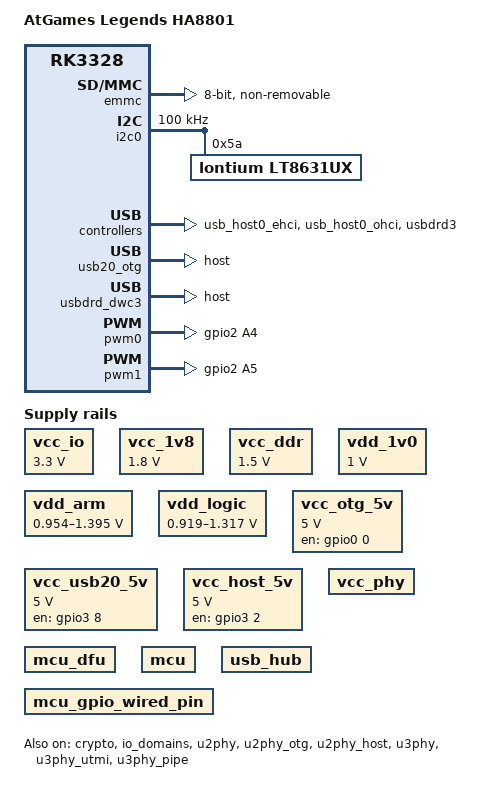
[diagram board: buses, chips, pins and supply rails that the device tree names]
/*
 * (C) Copyright 2016 Rockchip Electronics Co., Ltd
 *
 * SPDX-License-Identifier:     GPL-2.0+
 */

/dts-v1/;
#include "rk3328.dtsi"
#include "rk3328-sdram-ddr3-666.dtsi"
#include <dt-bindings/input/input.h>

/ {
	model = "AtGames Legends HA8801";
	compatible = "rockchip,rk3328-evb", "rockchip,rk3328";

	vcc_io: vcc-io {
		compatible = "regulator-fixed";
		regulator-name = "vcc_io";
		regulator-min-microvolt = <3300000>;
		regulator-max-microvolt = <3300000>;
		regulator-always-on;
	};

	vcc_1v8: vcc-1v8 {
		compatible = "regulator-fixed";
		regulator-name = "vcc_1v8";
		regulator-min-microvolt = <1800000>;
		regulator-max-microvolt = <1800000>;
		regulator-always-on;
	};

	vcc_ddr: vcc-ddr {
		compatible = "regulator-fixed";
		regulator-name = "vcc_ddr";
		regulator-min-microvolt = <1500000>;
		regulator-max-microvolt = <1500000>;
		regulator-always-on;
	};

	vdd_1v0: vdd-1v0 {
		compatible = "regulator-fixed";
		regulator-name = "vdd_1v0";
		regulator-min-microvolt = <1000000>;
		regulator-max-microvolt = <1000000>;
		regulator-always-on;
	};

	vdd_arm: vdd-arm {
		compatible = "pwm-regulator";
		pwms = <&pwm0 0 5000 1>;
		regulator-name = "vcc_arm";
		regulator-min-microvolt = <954000>;
		regulator-max-microvolt = <1395000>;
		regulator-settling-time-up-us = <250>;
		regulator-always-on;
		regulator-boot-on;
		regulator-init-microvolt = <10000000>;
	};

	vdd_logic: vdd-logic {
		compatible = "pwm-regulator";
		pwms = <&pwm1 0 5000 1>;
		regulator-name = "vdd_logic";
		regulator-min-microvolt = <919000>;
		regulator-max-microvolt = <1317000>;
		regulator-settling-time-up-us = <250>;
		regulator-always-on;
		regulator-boot-on;
		regulator-init-microvolt = <10000000>;
	};

	vcc_otg_5v: vcc-otg-5v {
		compatible = "regulator-fixed";
		gpio = <&gpio0 0 GPIO_ACTIVE_HIGH>;
		pinctrl-names = "default";
		pinctrl-0 = <&usb20_otg_drv>;
		regulator-name = "vcc_otg_5v";
		regulator-min-microvolt = <5000000>;
		regulator-max-microvolt = <5000000>;
		enable-active-high;
		regulator-boot-on;
	};

	vcc_usb20_5v: vcc-usb20-5v {
		compatible = "regulator-fixed";
		gpio = <&gpio3 8 GPIO_ACTIVE_HIGH>;
		pinctrl-names = "default";
		pinctrl-0 = <&usb20_host_drv>;
		regulator-name = "vcc_usb20_5v";
		regulator-min-microvolt = <5000000>;
		regulator-max-microvolt = <5000000>;
		enable-active-high;
		regulator-boot-on;
	};

	vcc_host_5v: vcc-host-5v {
		compatible = "regulator-fixed";
		gpio = <&gpio3 2 GPIO_ACTIVE_HIGH>;
		pinctrl-names = "default";
		pinctrl-0 = <&usb30_host_drv>;
		regulator-name = "vcc_host_5v";
		regulator-min-microvolt = <5000000>;
		regulator-max-microvolt = <5000000>;
		enable-active-high;
		regulator-boot-on;
	};

	vcc_phy: vcc-phy-regulator {
		compatible = "regulator-fixed";
		regulator-name = "vcc_phy";
		regulator-always-on;
		regulator-boot-on;
	};

	mcu_dfu: mcu-dfu {
		compatible = "regulator-fixed";
		regulator-name = "mcu-dfu";
		pinctrl-names = "default";
		pinctrl-0 = <&mcu_dfu_en>;
		status = "okay";
		regulator-boot-on;
	};

	mcu: mcu {
		compatible = "regulator-fixed";
		regulator-name = "mcu";
		pinctrl-names = "default";
		pinctrl-0 = <&mcu_pwren>;
		status = "okay";
		//regulator-boot-on;
	};

	usb_hub: usb-hub {
		compatible = "regulator-fixed";
		regulator-name = "usb_hub";
		pinctrl-names = "default";
		pinctrl-0 = <&usb_hub_pwren>;
		status = "okay";
		regulator-boot-on;
	};

	mcu_gpio_wired_pin: mcu-gpio-wired-pin {
		compatible = "regulator-fixed";
		regulator-name = "mcu_gpio_wired_pin";
		pinctrl-names = "default";
		pinctrl-0 = <&mcu_gpio_wired_pins>;
		status = "okay";
		//regulator-boot-on;
	};
};

&cpu0 {
	cpu-supply = <&vdd_arm>;
};

&cpu1 {
	cpu-supply = <&vdd_arm>;
};

&cpu2 {
	cpu-supply = <&vdd_arm>;
};

&cpu3 {
	cpu-supply = <&vdd_arm>;
};

&crypto {
	status = "okay";
};

&io_domains {
	status = "okay";
	vccio1-supply = <&vcc_io>;
	vccio2-supply = <&vcc_1v8>;
	vccio3-supply = <&vcc_io>;
	vccio4-supply = <&vcc_io>;
	vccio5-supply = <&vcc_io>;
	vccio6-supply = <&vcc_io>;
	pmuio-supply = <&vcc_io>;
};

&emmc {
	max-frequency = <120000000>;
	mmc-hs200-1_8v;
	bus-width = <8>;
	cap-mmc-highspeed;
	supports-emmc;
	disable-wp;
	non-removable;
	num-slots = <1>;
	pinctrl-names = "default";
	pinctrl-0 = <&emmc_clk &emmc_cmd &emmc_bus8>;
	status = "okay";
};

&pinctrl {
	pwm0 {
		pwm0_pin_pull_up: pwm0-pin-pull-up {
			rockchip,pins = <2 RK_PA4 1 &pcfg_pull_up>;
		};
	};

	pwm1 {
		pwm1_pin_pull_up: pwm1-pin-pull-up {
			rockchip,pins = <2 RK_PA5 1 &pcfg_pull_up>;
		};
	};

	usb {
		usb20_otg_drv: usb20-otg-drv {
			rockchip,pins = <0 RK_PA0 RK_FUNC_GPIO &pcfg_pull_none>;
		};

		usb20_host_drv: usb20-host-drv {
			rockchip,pins = <3 RK_PB0 RK_FUNC_GPIO &pcfg_pull_none>;
		};

		usb30_host_drv: usb30-host-drv {
			rockchip,pins = <3 RK_PA2 RK_FUNC_GPIO &pcfg_pull_none>;
		};
	};

	lt8631{
		lt8631_control_pin: lt8631-control-pin {
			rockchip,pins = <1 RK_PA3 RK_FUNC_GPIO &pcfg_pull_none>,
					<1 RK_PB3 RK_FUNC_GPIO &pcfg_pull_none>;
		};
	};

	mcu_dfu {
		mcu_dfu_en: mcu-dfu-en {
			rockchip,pins = <2 RK_PA6 RK_FUNC_GPIO &pcfg_pull_up>;
		};
	};

	mcu {
		mcu_pwren: mcu-pwren {
			rockchip,pins = <3 RK_PA1 RK_FUNC_GPIO &pcfg_pull_up>;
		};
	};

	usb_hub_pin {
		usb_hub_pwren: usb-hub-pwren {
			rockchip,pins = <3 RK_PB0 RK_FUNC_GPIO &pcfg_pull_up>;
		};
	};

	mcu_gpio_wired_pin {
		mcu_gpio_wired_pins: mcu-gpio-wired-pins {
			rockchip,pins =
				<1 RK_PA2 RK_FUNC_GPIO &pcfg_pull_none>,
				<2 RK_PC4 RK_FUNC_GPIO &pcfg_pull_none>,
				<1 RK_PA4 RK_FUNC_GPIO &pcfg_pull_none>,
				<2 RK_PC6 RK_FUNC_GPIO &pcfg_pull_none>,
				<2 RK_PC3 RK_FUNC_GPIO &pcfg_pull_none>,
				<2 RK_PA2 RK_FUNC_GPIO &pcfg_pull_none>,
				<2 RK_PC1 RK_FUNC_GPIO &pcfg_pull_none>,
				<0 RK_PD3 RK_FUNC_GPIO &pcfg_pull_none>,
 				<1 RK_PC5 RK_FUNC_GPIO &pcfg_pull_up>;
		};
	};
};

&i2c0 {
	status = "okay";
	clock-frequency = <100000>;

	lt8631ux: lt8631ux@5a {
		compatible = "lontium,lt8631ux";
		reg = <0x5a>;
		lt8631_pwrdn-gpio = <1 RK_PA3 GPIO_ACTIVE_HIGH>;
		lt8631_reset-gpio = <1 RK_PB3 GPIO_ACTIVE_HIGH>;
		pinctrl-names = "default";
		pinctrl-0 = <&lt8631_control_pin>;
	};
};

&gmac2phy {
	phy-supply = <&vcc_phy>;
	assigned-clocks = <&cru SCLK_MAC2PHY_SRC>;
	assigned-clock-rate = <50000000>;
	assigned-clocks = <&cru SCLK_MAC2PHY>;
	assigned-clock-parents = <&cru SCLK_MAC2PHY_SRC>;
	clock_in_out = "output";
};

&u2phy {
	status = "okay";
};

&u2phy_otg {
	status = "okay";
};

&u2phy_host {
	status = "okay";
};

&u3phy {
	//vbus-supply = <&vcc_host_5v>;
	status = "okay";
};

&u3phy_utmi {
	status = "okay";
};

&u3phy_pipe {
	status = "okay";
};

&usb_host0_ehci {
	//vbus-supply = <&vcc_otg_5v>;
	status = "okay";
};

&usb_host0_ohci {
	status = "okay";
};

&usb20_otg {
	//vbus-supply = <&vcc_otg_5v>;
	dr_mode = "host";
	status = "okay";
};

&usbdrd3 {
	status = "okay";
};

&usbdrd_dwc3 {
	dr_mode = "host";
	status = "okay";
};

&pwm0 {
	pinctrl-0 = <&pwm0_pin_pull_up>;
	status = "okay";
};

&pwm1 {
	pinctrl-0 = <&pwm1_pin_pull_up>;
	status = "okay";
};
